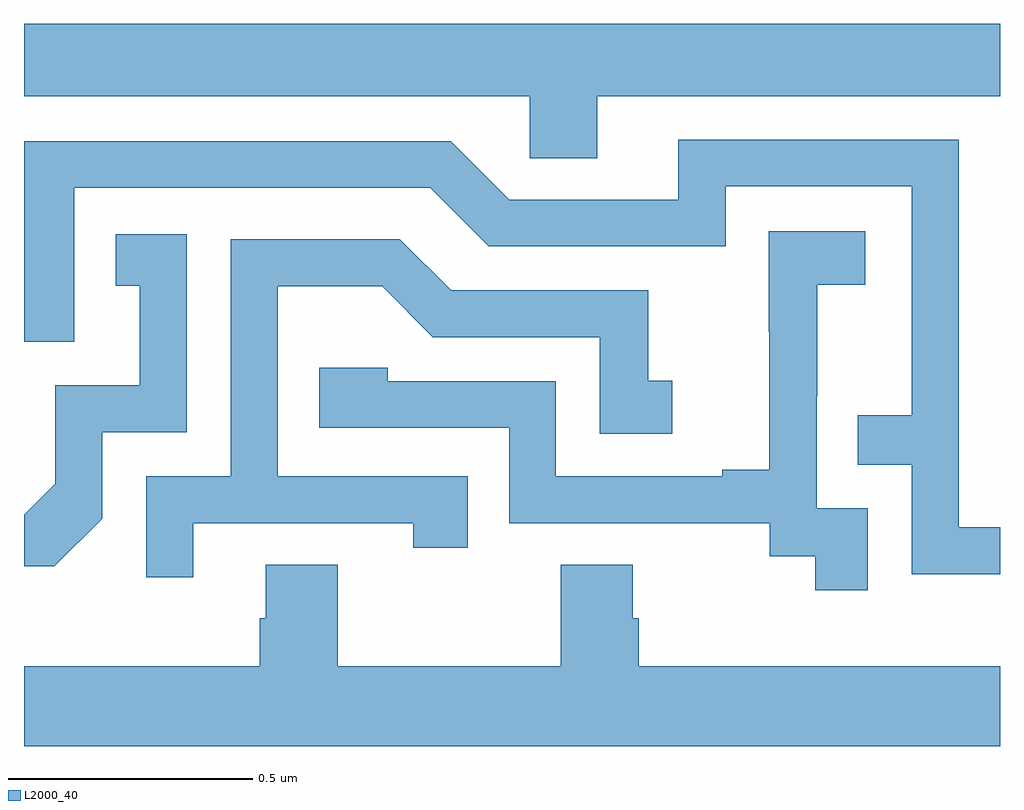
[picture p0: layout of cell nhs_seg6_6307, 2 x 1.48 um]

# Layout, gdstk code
import gdstk
lib = gdstk.Library(unit=1e-6, precision=1e-09)
def P(c, l, *ps):  # polygons
    for p in ps: c.add(gdstk.Polygon(p, *l))
L2000_40 = (2000, 40)

nhs_seg6_6307 = lib.new_cell('nhs_seg6_6307')
P(nhs_seg6_6307, L2000_40, [(195.175,931.352),(196,931.352),(196,931.5),(194,931.5),(194,931.352),(195.036,931.352),(195.036,931.225),(195.175,931.225)],
  [(196,930.468),(195.915,930.468),(195.915,931.263),(195.341,931.263),(195.341,931.14),(194.994,931.14),(194.874,931.26),(194,931.26),(194,930.849),(194.103,930.849),(194.103,931.164),(194.832,931.164),(194.952,931.044),(195.438,931.044),(195.438,931.167),(195.819,931.167),(195.819,930.698),(195.709,930.698),(195.709,930.597),(195.819,930.597),(195.819,930.372),(196,930.372)],
  [(195.729,930.507),(195.624,930.507),(195.624,930.737),(195.626,930.737),(195.626,930.965),(195.724,930.965),(195.724,931.075),(195.526,931.075),(195.526,930.869),(195.527,930.869),(195.527,930.586),(195.431,930.586),(195.431,930.573),(195.09,930.573),(195.09,930.768),(194.745,930.768),(194.745,930.795),(194.605,930.795),(194.605,930.672),(194.994,930.672),(194.994,930.477),(195.528,930.477),(195.528,930.409),(195.621,930.409),(195.621,930.339),(195.729,930.339)],
  [(194.16,930.486),(194.16,930.663),(194.334,930.663),(194.334,931.069),(194.188,931.069),(194.188,930.963),(194.237,930.963),(194.237,930.759),(194.064,930.759),(194.064,930.558),(194,930.494),(194,930.389),(194.062,930.389)],
  [(194.347,930.477),(194.798,930.477),(194.798,930.426),(194.909,930.426),(194.909,930.573),(194.52,930.573),(194.52,930.962),(194.734,930.962),(194.838,930.858),(195.18,930.858),(195.18,930.66),(195.328,930.66),(195.328,930.769),(195.279,930.769),(195.279,930.954),(194.875,930.954),(194.77,931.059),(194.424,931.059),(194.424,930.573),(194.25,930.573),(194.25,930.366),(194.347,930.366)],
  [(196,930.184),(195.26,930.184),(195.26,930.282),(195.247,930.282),(195.247,930.392),(195.1,930.392),(195.1,930.184),(194.643,930.184),(194.643,930.392),(194.495,930.392),(194.495,930.282),(194.483,930.282),(194.483,930.184),(194,930.184),(194,930.02),(196,930.02)])

lib.write_gds('nhs_seg6_6307.gds')
